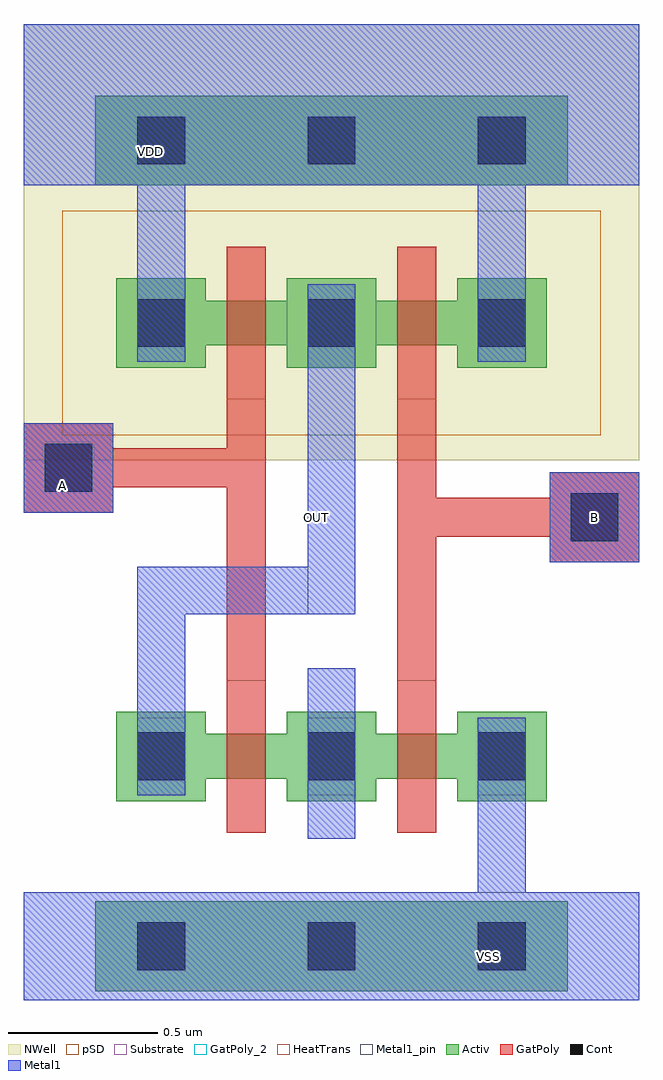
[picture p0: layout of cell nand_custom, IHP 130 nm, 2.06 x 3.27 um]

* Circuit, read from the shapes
.subckt nand_custom A B OUT VDD VSS
XM1 n1 A OUT VSS sg13_lv_nmos w=0.15u l=0.13u
XM2 VSS B n1 VSS sg13_lv_nmos w=0.15u l=0.13u
XM3 OUT A VDD VDD sg13_lv_pmos w=0.15u l=0.13u
XM4 VDD B OUT VDD sg13_lv_pmos w=0.15u l=0.13u
.ends

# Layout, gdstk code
from math import pi, radians
import gdstk
lib = gdstk.Library(unit=1e-6, precision=5e-09)
def R(c, l, rs):  # rectangles x0, y0, x1, y1
    for r in rs: c.add(gdstk.rectangle(r[:2], r[2:], *l))
def A(c, l, x, y, w, h, nx, ny, dx, dy):  # array of equal rectangles
    R(c, l, [(x+i*dx, y+j*dy, x+i*dx+w, y+j*dy+h) for i in range(nx) for j in range(ny)])
Activ = (1, 0)
GatPoly = (5, 0)
GatPoly_2 = (5, 2)
Cont = (6, 0)
Metal1 = (8, 0)
Metal1_pin = (8, 2)
pSD = (14, 0)
NWell = (31, 0)
Substrate = (40, 0)
HeatTrans = (51, 0)

pmos = lib.new_cell('pmos')
R(pmos, Activ, [(0,0,0.3,0.3), (0.57,0,0.87,0.3), (0,0.075,0.87,0.225)])
R(pmos, GatPoly, [(0.37,-0.105,0.5,0.405), (0.37,-0.105,0.5,0.405)])
R(pmos, Cont, [(0.07,0.07,0.23,0.23), (0.64,0.07,0.8,0.23)])
R(pmos, Metal1, [(0.07,0.02,0.23,0.28), (0.07,0.02,0.23,0.28), (0.64,0.02,0.8,0.28), (0.64,0.02,0.8,0.28)])
R(pmos, pSD, [(-0.18,-0.225,1.05,0.525)])
R(pmos, NWell, [(-0.31,-0.31,1.18,0.61)])
R(pmos, Substrate, [(0.57,0,0.87,0.3)])
R(pmos, HeatTrans, [(0.37,-0.105,0.5,0.405)])
pmos.add(gdstk.Label('pmos', (0.435,0.15), layer=63, texttype=0))
pmos.add(gdstk.Label('pmos', (0.435,0.15), layer=51, texttype=0))

nmos = lib.new_cell('nmos')
R(nmos, Activ, [(0,0,0.3,0.3), (0.57,0,0.87,0.3), (0,0.075,0.87,0.225)])
R(nmos, GatPoly, [(0.37,-0.105,0.5,0.405)])
R(nmos, GatPoly_2, [(0.37,-0.105,0.5,0.405)])
R(nmos, Cont, [(0.07,0.07,0.23,0.23), (0.64,0.07,0.8,0.23)])
R(nmos, Metal1, [(0.07,0.02,0.23,0.28), (0.64,0.02,0.8,0.28)])
R(nmos, Metal1_pin, [(0.07,0.02,0.23,0.28), (0.64,0.02,0.8,0.28)])
R(nmos, HeatTrans, [(0.37,-0.105,0.5,0.405)])
nmos.add(gdstk.Label('nmos', (0.435,0.15), layer=63, texttype=0))
nmos.add(gdstk.Label('nmos', (0.435,0.15), layer=51, texttype=0))

nand_custom = lib.new_cell('nand_custom')
R(nand_custom, Activ, [(0.39,0.165,1.97,0.465), (0.39,2.86,1.97,3.16)])
R(nand_custom, GatPoly, [(0.83,0.695,0.96,2.655), (1.4,0.695,1.53,2.655), (1.91,1.6,2.21,1.9), (1.53,1.685,1.91,1.815), (0.15,1.765,0.45,2.065), (0.45,1.85,0.83,1.98)])
A(nand_custom, Cont, 0.53, 0.235, 0.16, 0.16, 3, 2, 0.57, 2.695)
R(nand_custom, Cont, [(1.98,1.67,2.14,1.83), (0.22,1.835,0.38,1.995)])
R(nand_custom, Metal1, [(0.15,0.135,2.21,0.495), (1.67,0.165,1.83,1.08), (1.1,0.675,1.26,1.245), (0.53,0.82,0.69,1.585), (0.53,1.425,1.26,1.585), (1.1,1.425,1.26,2.53), (1.91,1.6,2.21,1.9), (0.15,1.765,0.45,2.065), (0.53,2.27,0.69,3.16), (1.67,2.27,1.83,3.16), (0.15,2.86,2.21,3.4)])
R(nand_custom, Metal1_pin, [(0.15,0.135,2.21,0.495), (1.1,1.425,1.26,2.53), (1.91,1.6,2.21,1.9), (0.15,1.765,0.45,2.065), (0.15,2.86,2.21,3.4)])
R(nand_custom, pSD, [(0.15,0.135,2.21,0.495)])
R(nand_custom, NWell, [(0.15,2.86,2.21,3.4)])
nand_custom.add(gdstk.Reference(pmos, (0.46,2.25)))
nand_custom.add(gdstk.Reference(nmos, (1.03,0.8)))
nand_custom.add(gdstk.Reference(pmos, (1.9,2.25), rotation=pi, x_reflection=True))
nand_custom.add(gdstk.Reference(nmos, (1.33,0.8), rotation=pi, x_reflection=True))
nand_custom.add(gdstk.Label('VDD', (0.575,2.975), layer=8, texttype=25))
nand_custom.add(gdstk.Label('VSS', (1.705,0.28), layer=8, texttype=25))
nand_custom.add(gdstk.Label('OUT', (1.13,1.75), layer=8, texttype=25))
nand_custom.add(gdstk.Label('A', (0.28,1.855), layer=8, texttype=25))
nand_custom.add(gdstk.Label('B', (2.06,1.75), layer=8, texttype=25))

lib.write_gds('nand_custom.gds')
